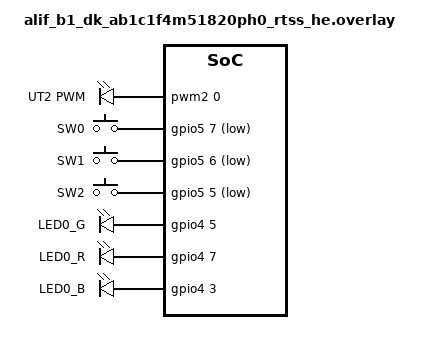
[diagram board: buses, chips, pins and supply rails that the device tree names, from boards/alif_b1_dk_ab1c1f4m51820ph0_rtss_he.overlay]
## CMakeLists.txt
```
# Copyright (C) 2024 Alif Semiconductor - All Rights Reserved.
# Use, distribution and modification of this code is permitted under the
# terms stated in the Alif Semiconductor Software License Agreement
#
# You should have received a copy of the Alif Semiconductor Software
# License Agreement with this file. If not, please write to:
# contact@alifsemi.com, or visit: https://alifsemi.com/license

cmake_minimum_required(VERSION 3.13.1)

if(CONFIG_CHIP_FACTORY_DATA)
set(EXTRA_DTC_OVERLAY_FILE "b1_factorydata_partition.overlay")
set(OVERLAY_CONFIG "factory_data.conf")
endif()

find_package(Zephyr REQUIRED HINTS $ENV{ZEPHYR_BASE})
project(matter-lighting-switch)

set(CHIP_ROOT ${ZEPHYR_CONNECTEDHOMEIP_MODULE_DIR})
set(ALIF_COMMON ${ZEPHYR_SDK_ALIF_MODULE_DIR}/subsys/matter)
set(MATTER_GEN_DIR ${CHIP_ROOT}/zzz_generated/)

include(${ZEPHYR_CONNECTEDHOMEIP_MODULE_DIR}/config/alif/app/enable-gnu-std.cmake)
include(${ZEPHYR_CONNECTEDHOMEIP_MODULE_DIR}/src/app/chip_data_model.cmake)

# -Wmaybe-uninitialized has too many false positives, including on std::optional
# and chip::Optional.  Make it nonfatal.
#
# See https://gcc.gnu.org/bugzilla/show_bug.cgi?id=80635
target_compile_options(app PRIVATE -Werror -Wno-error=maybe-uninitialized)

target_include_directories(app PRIVATE
                           src/include
                           ${MATTER_GEN_DIR}
                           ${MATTER_GEN_DIR}/app-common
                           ${MATTER_GEN_DIR}/light-switch-app
                           ${ALIF_COMMON}/common
                           ${ALIF_COMMON}/binding)

target_sources(app PRIVATE
               src/main.cpp
               src/AppTask.cpp
               src/LightSwitch.cpp
               src/ShellCommands.cpp
               ${ALIF_COMMON}/binding/BindingHandler.cpp
               ${ALIF_COMMON}/common/MatterStack.cpp
               ${ALIF_COMMON}/common/MatterUi.cpp
               ${ALIF_COMMON}/common/FabricTableDelegate.cpp)
              

chip_configure_data_model(app
    INCLUDE_SERVER
    ZAP_FILE ${CMAKE_CURRENT_SOURCE_DIR}/src/light-switch-app.zap
)
```

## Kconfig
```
# Copyright(C) 2024 Alif Semiconductor - All Rights Reserved.
# Use, distribution and modification of this code is permitted under the
# terms stated in the Alif Semiconductor Software License Agreement
#
# You should have received a copy of the Alif Semiconductor Software
# License Agreement with this file.If not, please write to:
# contact @alifsemi.com, or visit : https: // alifsemi.com/license

mainmenu "Matter Alif SDK Connect Light switch Example Application with shell test commands"

# Sample configuration used for Thread networking
if NET_L2_OPENTHREAD

choice OPENTHREAD_DEVICE_TYPE
	default OPENTHREAD_MTD
endchoice

endif # NET_L2_OPENTHREAD

rsource "${ZEPHYR_CONNECTEDHOMEIP_MODULE_DIR}/config/alif/chip-module/Kconfig.features"
rsource "${ZEPHYR_CONNECTEDHOMEIP_MODULE_DIR}/config/alif/chip-module/Kconfig.defaults"
source "Kconfig.zephyr"
```

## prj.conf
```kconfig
#  Copyright (C) 2024 Alif Semiconductor - All Rights Reserved.
#  Use, distribution and modification of this code is permitted under the
#  terms stated in the Alif Semiconductor Software License Agreement
#
#  You should have received a copy of the Alif Semiconductor Software
#  License Agreement with this file. If not, please write to:
#  contact@alifsemi.com, or visit: https://alifsemi.com/license

# Enable XIP
CONFIG_XIP=y

# Enable CHIP
CONFIG_CHIP=y
CONFIG_CHIP_PROJECT_CONFIG="src/include/CHIPProjectConfig.h"
# 32772 == 0x8004 (example light-switch-app)
CONFIG_CHIP_DEVICE_PRODUCT_ID=32772
CONFIG_STD_CPP17=y

CONFIG_OPENTHREAD_THREAD_STACK_SIZE=8000
CONFIG_LOG_MODE_DEFERRED=y
CONFIG_LOG=y
CONFIG_SHELL=y
CONFIG_LOG_BUFFER_SIZE=8200

# General networking settings
CONFIG_NET_IF_MCAST_IPV6_ADDR_COUNT=14

# Enable CHIP pairing automatically on application start.
CONFIG_CHIP_ENABLE_PAIRING_AUTOSTART=y
# Matter stack will will enable 15.4 interface 
CONFIG_OPENTHREAD_MANUAL_START=y
# Enable Subscription storage and resume
# After system reset subscribe request are activated a properly automatically
CONFIG_CHIP_PERSISTENT_SUBSCRIPTIONS=y

# OpenThread configuration
CONFIG_NET_L2_OPENTHREAD=y

#Network setup
CONFIG_NET_TCP=y
CONFIG_NET_IPV6_NBR_CACHE=n
CONFIG_NET_IPV6_MLD=n
CONFIG_NET_CONFIG_NEED_IPV4=n

## Openthread parameters
CONFIG_SHELL=y
CONFIG_OPENTHREAD_SHELL=y
CONFIG_SHELL_STACK_SIZE=3072
CONFIG_OPENTHREAD_THREAD_VERSION_1_3=y
CONFIG_OPENTHREAD_PING_SENDER=y


# Bluetooth Low Energy configuration
CONFIG_BT_DEVICE_NAME="MatterSwitch"
CONFIG_BT_DEVICE_NAME_DYNAMIC=n

# BT configuration

CONFIG_BT=y
CONFIG_BT_CENTRAL=y
CONFIG_BT_PERIPHERAL=y
CONFIG_BT_PRIVACY=n
CONFIG_BT_SMP=y
CONFIG_BT_SIGNING=y
CONFIG_BT_ATT_PREPARE_COUNT=2
CONFIG_BT_GATT_CLIENT=y
CONFIG_BT_L2CAP_DYNAMIC_CHANNEL=y
CONFIG_BT_SHELL=y
CONFIG_BT_L2CAP_TX_BUF_COUNT=4
CONFIG_BT_ID_MAX=2
CONFIG_BT_EATT=y
CONFIG_BT_L2CAP_ECRED=y
CONFIG_BT_GATT_DYNAMIC_DB=y
CONFIG_BT_FILTER_ACCEPT_LIST=y
CONFIG_BT_REMOTE_INFO=y
CONFIG_BT_REMOTE_VERSION=y
CONFIG_BT_GATT_AUTO_DISCOVER_CCC=y

CONFIG_BT_EXT_ADV=y
CONFIG_BT_EXT_ADV_LEGACY_SUPPORT=y
CONFIG_BT_PER_ADV=y
CONFIG_BT_PER_ADV_SYNC=y

CONFIG_BT_USER_DATA_LEN_UPDATE=y
CONFIG_BT_AUTO_DATA_LEN_UPDATE=y

CONFIG_BT_USER_PHY_UPDATE=y
CONFIG_BT_AUTO_PHY_UPDATE=y

# Enable the Read Client for binding
CONFIG_CHIP_ENABLE_READ_CLIENT=y

# Other settings
CONFIG_THREAD_NAME=y
CONFIG_CHIP_LIB_SHELL=y

# Flash and Settings storage configutaion
CONFIG_FLASH=y
CONFIG_FLASH_PAGE_LAYOUT=y
CONFIG_FLASH_MAP=y
CONFIG_NVS=y
CONFIG_SETTINGS=y

# Reduce application size
CONFIG_USE_SEGGER_RTT=n

# Disable GET Opt for fix duplicate implementation
CONFIG_GETOPT=n
CONFIG_IEEE802154_ALIF_AHI_MSG_LIB=y

CONFIG_LOG_RUNTIME_FILTERING=n
```

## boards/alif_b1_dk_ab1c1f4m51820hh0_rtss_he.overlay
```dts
/* Copyright (C) 2024 Alif Semiconductor - All Rights Reserved.
 * Use, distribution and modification of this code is permitted under the
 * terms stated in the Alif Semiconductor Software License Agreement
 *
 * You should have received a copy of the Alif Semiconductor Software
 * License Agreement with this file. If not, please write to:
 * contact@alifsemi.com, or visit: https://alifsemi.com/license
 */
#include <dt-bindings/pinctrl/balletto-pinctrl.h>
#include <dt-bindings/gpio/gpio.h>
#include <zephyr/dt-bindings/input/input-event-codes.h>

/* for "buttons" node gpio5_7 & 5_6, enable software pull-up */


&{/} {
	chosen {
		zephyr,console = &uart2;
		zephyr,shell-uart = &uart2;
		zephyr,bt-uart = &uart_hci;
	};

	aliases {
		led0 = &aled1;
		led2 = &aled2;
		sw0 = &button0;
		sw1 = &button1;
		sw2 = &button2;
	};

	buttons {
		compatible = "gpio-keys";
		button0: button_0 {
			gpios = < &gpio5 7 GPIO_ACTIVE_LOW >;
			label = "SW0";
			zephyr,code = <INPUT_KEY_0>;
		};
		button1: button_1 {
			gpios = < &gpio5 6 GPIO_ACTIVE_LOW >;
			label = "SW1";
			zephyr,code = <INPUT_KEY_1>;
		};

		button2: button_2 {
			gpios = < &gpio5 5 GPIO_ACTIVE_LOW >;
			label = "SW2";
			zephyr,code = <INPUT_KEY_1>;
		};
	};

	leds {
		compatible = "gpio-leds";
		aled0: led_0 {
			gpios = <&gpio4 5 0>;
			label = "LED0_G";
		};

		aled1: led_1 {
			gpios = <&gpio4 7 0>;
			label = "LED0_R";
		};

		aled2: led_2 {
			gpios = <&gpio4 3 0>;
			label = "LED0_B";
		};
	};
};

&pinctrl_gpio5 {
	group0 {
		pinmux = < PIN_P5_0__GPIO >,
			 < PIN_P5_1__GPIO >,
			 < PIN_P5_2__GPIO >,
			 < PIN_P5_3__GPIO >,
			 < PIN_P5_4__GPIO >,
			 < PIN_P5_5__GPIO >,
			 < PIN_P5_6__GPIO >,
			 < PIN_P5_7__GPIO >;
		read-enable = < 0x1 >;
	};

	group1 {
		pinmux = < PIN_P5_5__GPIO >,
			 < PIN_P5_6__GPIO >,
			 < PIN_P5_7__GPIO >;
		driver-state-control = <1>;
	};
};
```

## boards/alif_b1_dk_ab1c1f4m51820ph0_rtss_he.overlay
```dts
/* Copyright (C) 2024 Alif Semiconductor - All Rights Reserved.
 * Use, distribution and modification of this code is permitted under the
 * terms stated in the Alif Semiconductor Software License Agreement
 *
 * You should have received a copy of the Alif Semiconductor Software
 * License Agreement with this file. If not, please write to:
 * contact@alifsemi.com, or visit: https://alifsemi.com/license
 */
#include <dt-bindings/pinctrl/balletto-pinctrl.h>
#include <dt-bindings/gpio/gpio.h>
#include <zephyr/dt-bindings/input/input-event-codes.h>

/* for "buttons" node gpio5_7 & 5_6, enable software pull-up */


&{/} {
	chosen {
		zephyr,console = &uart2;
		zephyr,shell-uart = &uart2;
		zephyr,bt-uart = &uart_hci;
	};

	aliases {
		led0 = &aled1;
		led2 = &aled2;
		pwm-led0 = &pwm_ut2;
		sw0 = &button0;
		sw1 = &button1;
		sw2 = &button2;
	};
	pwmleds {
		compatible = "pwm-leds";
		pwm_ut2: pwm_ut2 {
			pwms = <&pwm2 0 PWM_MSEC(20) PWM_POLARITY_NORMAL>;
			label = "UT2 PWM";
		};
	};
	buttons {
		compatible = "gpio-keys";
		button0: button_0 {
			gpios = < &gpio5 7 GPIO_ACTIVE_LOW >;
			label = "SW0";
			zephyr,code = <INPUT_KEY_0>;
		};
		button1: button_1 {
			gpios = < &gpio5 6 GPIO_ACTIVE_LOW >;
			label = "SW1";
			zephyr,code = <INPUT_KEY_1>;
		};

		button2: button_2 {
			gpios = < &gpio5 5 GPIO_ACTIVE_LOW >;
			label = "SW2";
			zephyr,code = <INPUT_KEY_1>;
		};
	};

	leds {
		compatible = "gpio-leds";
		aled0: led_0 {
			gpios = <&gpio4 5 0>;
			label = "LED0_G";
		};

		aled1: led_1 {
			gpios = <&gpio4 7 0>;
			label = "LED0_R";
		};

		aled2: led_2 {
			gpios = <&gpio4 3 0>;
			label = "LED0_B";
		};
	};
};

&pinctrl_gpio5 {
	group0 {
		pinmux = < PIN_P5_0__GPIO >,
			 < PIN_P5_1__GPIO >,
			 < PIN_P5_2__GPIO >,
			 < PIN_P5_3__GPIO >,
			 < PIN_P5_4__GPIO >,
			 < PIN_P5_5__GPIO >,
			 < PIN_P5_6__GPIO >,
			 < PIN_P5_7__GPIO >;
		read-enable = < 0x1 >;
	};

	group1 {
		pinmux = < PIN_P5_5__GPIO >,
			 < PIN_P5_6__GPIO >,
			 < PIN_P5_7__GPIO >;
		driver-state-control = <1>;
	};
};
```

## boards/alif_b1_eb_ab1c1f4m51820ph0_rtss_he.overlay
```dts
#include <zephyr/dt-bindings/dma/alif_dma_event_router.h>

&{/} {
	chosen {
		zephyr,console = &uart2;
		zephyr,shell-uart = &uart2;
		zephyr,bt-hci = &alif_hci_uart;
		zephyr,hci-uart = &uart_hci;
		zephyr,uart-mcumgr = &uart2;
		zephyr,entropy = &rng;
	};

	aliases {
		led0 = &aled1;
		led1 = &aled0;
		led2 = &aled2;
		sw0 = &button0;
		sw1 = &button1;
		watchdog0 = &wdog0;
	};

	leds {
		compatible = "gpio-leds";

		aled0: led_0 {
			gpios = <&gpio4 5 0>;
			label = "LED0_G";
		};

		aled1: led_1 {
			gpios = <&gpio4 7 0>;
			label = "LED0_R";
		};

		aled2: led_2 {
			gpios = <&gpio4 3 0>;
			label = "LED0_B";
		};
	};

	buttons {
		compatible = "gpio-keys";

		button0: button_0 {
			gpios = < &gpio8 6 0 >;
			label = "SW0";
		};

		button1: button_1 {
			gpios = < &gpio8 7 0 >;
			label = "SW1";
		};
	};
};

&ieee802154 {
	status = "okay";
};

&uart2 {
	status = "okay";
};

&evtrtr2 {
	status = "okay";
};

&uart_hci {
	clock-frequency = <160000000>;
	/*
	 * Cell 0: ALIF_DMA_ENCODE(channel, dma_group, handshake)
	 *   - channel: Physical DMA channel (0 for RX, 1 for TX)
	 *   - dma_group: Input source selection (0) - selects which peripheral input
	 *   - handshake: Enable hardware handshaking (1 for UART)
	 * Cell 1: Peripheral request number (26 for RX, 27 for TX)
	 */
	dmas = <&evtrtr2 ALIF_DMA_ENCODE(HCI_UART_DMA_RX_CH, 0, 1) HCI_UART_DMA_RX_REQ>,
	       <&evtrtr2 ALIF_DMA_ENCODE(HCI_UART_DMA_TX_CH, 0, 1) HCI_UART_DMA_TX_REQ>;
	dma-names = "rx", "tx";
	status = "okay";
};

&uart_ahi {
	clock-frequency = <160000000>;
	pinctrl-0 = <&pinctrl_ahi_trace>;
	pinctrl-names = "default";
	/*
	 * Cell 0: ALIF_DMA_ENCODE(channel, dma_group, handshake)
	 *   - channel: Physical DMA channel (2 for RX, 3 for TX)
	 *   - dma_group: Input source selection (0) - selects which peripheral input
	 *   - handshake: Enable hardware handshaking (1 for UART)
	 * Cell 1: Peripheral request number (2 for RX, 3 for TX)
	 */
	dmas = <&evtrtr2 ALIF_DMA_ENCODE(AHI_UART_DMA_RX_CH, 0, 1) AHI_UART_DMA_RX_REQ>,
	       <&evtrtr2 ALIF_DMA_ENCODE(AHI_UART_DMA_TX_CH, 0, 1) AHI_UART_DMA_TX_REQ>;
	dma-names = "rx", "tx";
	status = "okay";
};

&dma2 {
	status = "okay";
};

&gpio4 {
	status = "okay";
};

&gpio8 {
	status = "okay";
};

&mram_storage {
	partitions {
		compatible = "fixed-partitions";
		#address-cells = <1>;
		#size-cells = <1>;

		boot_partition: partition@0 {
			label = "mcuboot";
			reg = <0x00000000 DT_SIZE_K(64)>;
			read-only;
		};

		slot0_partition: partition@10000 {
			label = "image-0";
			reg = <0x00010000 DT_SIZE_K(843)>;
		};

		slot1_partition: partition@E2C00 {
			label = "image-1";
			reg = <0x000E2C00 DT_SIZE_K(843)>;
		};

		scratch_partition: partition@1B5800 {
			label = "image-scratch";
			reg = <0x001B5800 DT_SIZE_K(64)>;
		};

		storage_partition: partition@1C5800 {
			label = "storage";
			reg = <0x001C5800 DT_SIZE_K(10)>;
		};
	};
};


&pinctrl_gpio8 {
	group0 {
		pinmux = < PIN_P8_0__GPIO >,
			 < PIN_P8_1__GPIO >,
			 < PIN_P8_2__GPIO >,
			 < PIN_P8_3__GPIO >,
			 < PIN_P8_4__GPIO >,
			 < PIN_P8_5__GPIO >,
			 < PIN_P8_6__GPIO >,
			 < PIN_P8_7__GPIO >;
		read-enable = < 0x1 >;
	};

	group1 {
		pinmux = < PIN_P8_6__GPIO >,
			 < PIN_P8_7__GPIO >;
		driver-state-control = <1>;
	};
};
```

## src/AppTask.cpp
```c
/* Copyright (C) 2024 Alif Semiconductor - All Rights Reserved.
 * Use, distribution and modification of this code is permitted under the
 * terms stated in the Alif Semiconductor Software License Agreement
 *
 * You should have received a copy of the Alif Semiconductor Software
 * License Agreement with this file. If not, please write to:
 * contact@alifsemi.com, or visit: https://alifsemi.com/license
 */

#include "AppTask.h"
#include "AppConfig.h"
#include "LightSwitch.h"
#include "MatterStack.h"
#include "MatterUi.h"

#include "icdHandler.h"
#include <app/InteractionModelEngine.h>

#include <DeviceInfoProviderImpl.h>
#include <app/TestEventTriggerDelegate.h>
#include <app/clusters/identify-server/identify-server.h>
#include <setup_payload/OnboardingCodesUtil.h>
#include <app/server/Server.h>
#include <credentials/DeviceAttestationCredsProvider.h>
#include <credentials/examples/DeviceAttestationCredsExample.h>
#include <lib/support/CHIPMem.h>
#include <lib/support/CodeUtils.h>
#include <lib/support/SafeInt.h>
#include <platform/CHIPDeviceLayer.h>
#include <system/SystemError.h>

#include <zephyr/kernel.h>
#include <zephyr/logging/log.h>

LOG_MODULE_DECLARE(app, CONFIG_CHIP_APP_LOG_LEVEL);

using namespace ::chip;
using namespace ::chip::app;
using namespace ::chip::Credentials;
using namespace ::chip::DeviceLayer;

namespace
{
constexpr EndpointId kLightDimmerSwitchEndpointId = 1;
constexpr EndpointId kLightGenericSwitchEndpointId = 2;
constexpr EndpointId kLightEndpointId = 1;

constexpr int kAppEventQueueSize = 10;

K_MSGQ_DEFINE(sAppEventQueue, sizeof(AppEvent), kAppEventQueueSize, alignof(AppEvent));

Identify sIdentify = {kLightEndpointId, AppTask::IdentifyStartHandler, AppTask::IdentifyStopHandler,
		      Clusters::Identify::IdentifyTypeEnum::kVisibleIndicator};
// Identify sIdentifyGen = {kLightGenericSwitchEndpointId, AppTask::IdentifyStartHandler, AppTask::IdentifyStopHandler,
// 			Clusters::Identify::IdentifyTypeEnum::kVisibleIndicator};

chip::DeviceLayer::DeviceInfoProviderImpl gExampleDeviceInfoProvider;

CHIP_ERROR DevInit()
{
	LightSwitch::GetInstance().Init(kLightDimmerSwitchEndpointId, kLightGenericSwitchEndpointId);
	gExampleDeviceInfoProvider.SetStorageDelegate(
		&Server::GetInstance().GetPersistentStorage());
	chip::DeviceLayer::SetDeviceInfoProvider(&gExampleDeviceInfoProvider);
	MatterUi::Instance().Init(AppTask::ButtonUpdateHandler);
	return CHIP_NO_ERROR;
}
} // namespace

void AppTask::ButtonUpdateHandler(uint32_t button_state, uint32_t has_changed)
{
	if (has_changed & 1) {
		/* Press Button Update  toggle led when state goes to 0*/
		if (!(button_state & 1)) {
			/* Toggle Light onOff server state */
			LightSwitch::GetInstance().LightOnOffServerControl(LightSwitch::Action::Toggle);
			LightSwitch::GetInstance().LightControl(LightSwitch::Action::Toggle);
		}

	} else if (has_changed & 2) {
		/* Generic functional button */
		if (button_state & 2) {
			LOG_INF("SW1 press");
			LightSwitch::GetInstance().GenericSwitchInitialPress();
		} else {
			LOG_INF("SW1 released");
			LightSwitch::GetInstance().GenericSwitchReleasePress();
		}
	}  else if (has_changed & 4) {
		/* Factory Reset user Button */
		if (button_state & 4) {
			LOG_INF("Factoryreset button pressed");
		} else {
			LOG_INF("Factoryreset button released");
		}
		MatterUi::Instance().AppFactoryResetEventTrig();
	}
}

void AppTask::PostEvent(AppEvent * aEvent)
{
    if (!aEvent) {
        return;
    }
        
    if (k_msgq_put(&sAppEventQueue, aEvent, K_NO_WAIT) != 0) {
        LOG_INF("PostEvent fail");
    }
}

void AppTask::DispatchEvent(const AppEvent * aEvent)
{
    if (!aEvent) {
        return;
    }
    if (aEvent->Handler) {
        aEvent->Handler(aEvent);
    } else {
        LOG_INF("Dropping event without handler");
    }
}

void AppTask::GetEvent(AppEvent * aEvent)
{
    k_msgq_get(&sAppEventQueue, aEvent, K_FOREVER);
}

void AppTask::IdentifyStartHandler(Identify *)
{
	AppEvent event;

	event.Type = AppEventType::IdentifyStart;
	event.Handler = [](const AppEvent *) {
		LOG_INF("Identify start");
		MatterStack::Instance().IdentifyLedState(true);
	};
	PostEvent(&event);
}

void AppTask::IdentifyStopHandler(Identify *)
{
	AppEvent event;

	event.Type = AppEventType::IdentifyStop;
	event.Handler = [](const AppEvent *) {
		LOG_INF("Identify stop");
		MatterStack::Instance().IdentifyLedState(false);
	};
	PostEvent(&event);
}

void AppTask::StartBLEAdvertisementHandler(const AppEvent *)
{
	if (Server::GetInstance().GetFabricTable().FabricCount() != 0) {
		LOG_INF("Matter service BLE advertising not started - device is already "
			"commissioned");
		return;
	}

	if (ConnectivityMgr().IsBLEAdvertisingEnabled()) {
		LOG_INF("BLE advertising is already enabled");
		return;
	}

	if (Server::GetInstance().GetCommissioningWindowManager().OpenBasicCommissioningWindow() !=
	    CHIP_NO_ERROR) {
		LOG_ERR("OpenBasicCommissioningWindow() failed");
	}
}

CHIP_ERROR AppTask::Init()
{
	/* Initialize Matter stack */
	ReturnErrorOnFailure(MatterStack::Instance().matter_stack_init(DevInit));

	chip::app::InteractionModelEngine::GetInstance()->RegisterReadHandlerAppCallback(
		&ICDHandler::Instance());

	/* Start Matter sheduler */
	ReturnErrorOnFailure(MatterStack::Instance().matter_stack_start());

	return CHIP_NO_ERROR;
}

CHIP_ERROR AppTask::StartApp()
{
	ReturnErrorOnFailure(Init());

	AppEvent event = {};

	while (true) {
		GetEvent(&event);
		DispatchEvent(&event);
	}

	return CHIP_NO_ERROR;
}
```

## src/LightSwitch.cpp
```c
/* Copyright (C) 2024 Alif Semiconductor - All Rights Reserved.
 * Use, distribution and modification of this code is permitted under the
 * terms stated in the Alif Semiconductor Software License Agreement
 *
 * You should have received a copy of the Alif Semiconductor Software
 * License Agreement with this file. If not, please write to:
 * contact@alifsemi.com, or visit: https://alifsemi.com/license
 */

#include "LightSwitch.h"
#include "AppEvent.h"
#include "BindingHandler.h"
#include "ShellCommands.h"

#include <app/server/Server.h>
#include <app/util/binding-table.h>
#include <controller/InvokeInteraction.h>
#include <app/clusters/switch-server/switch-server.h>

#include <app-common/zap-generated/attributes/Accessors.h>
#include <zephyr/logging/log.h>
LOG_MODULE_DECLARE(app, CONFIG_CHIP_APP_LOG_LEVEL);

using namespace chip;
using namespace chip::app;
using namespace chip::app::Clusters;

void LightSwitch::Init(chip::EndpointId aLightDimmerSwitchEndpoint)
{
	BindingHandler::GetInstance().Init();

	/* Enable shell commands */
	SwitchCommands::RegisterSwitchCommands();
	mLightSwitchEndpoint = aLightDimmerSwitchEndpoint;
}

void LightSwitch::LightControl(Action mAction)
{
	BindingHandler::BindingData *data = Platform::New<BindingHandler::BindingData>();
	if (data) {
		data->EndpointId = mLightSwitchEndpoint;
		data->ClusterId = Clusters::OnOff::Id;
		data->BindCommandFunc = LightSwitchChangedHandler;
		switch (mAction) {
		case Action::Toggle:
			data->CommandId = Clusters::OnOff::Commands::Toggle::Id;
			break;
		case Action::On:
			data->CommandId = Clusters::OnOff::Commands::On::Id;
			break;
		case Action::Off:
			data->CommandId = Clusters::OnOff::Commands::Off::Id;
			break;
		default:
			Platform::Delete(data);
			return;
		}
		data->IsGroup = BindingHandler::GetInstance().IsGroupBound();
		BindingHandler::SheduleClusterAction(data);
	}
}

void LightSwitch::LightDimmControl(uint16_t dimmLevel)
{

	BindingHandler::BindingData *data = Platform::New<BindingHandler::BindingData>();
	if (data) {
		data->EndpointId = mLightSwitchEndpoint;
		data->CommandId = Clusters::LevelControl::Commands::MoveToLevel::Id;
		data->ClusterId = Clusters::LevelControl::Id;
		data->BindCommandFunc = LightSwitchChangedHandler;

		if (dimmLevel > kMaximumBrightness) {
			dimmLevel = kMaximumBrightness;
		}
		data->Value = static_cast<uint8_t>(dimmLevel);
		data->IsGroup = BindingHandler::GetInstance().IsGroupBound();
		BindingHandler::SheduleClusterAction(data);
	}
}

void LightSwitch::OnOffProcessCommand(CommandId aCommandId, const EmberBindingTableEntry &aBinding,
				      OperationalDeviceProxy *aDevice,
				      BindingHandler::BindingData &bindingData)
{
	CHIP_ERROR ret = CHIP_NO_ERROR;

	auto onSuccess = [dataPointer = Platform::New<BindingHandler::BindingData>(bindingData)](
				 const ConcreteCommandPath &commandPath, const StatusIB &status,
				 const auto &dataResponse) {
		BindingHandler::BindCommandSucces(dataPointer);
	};

	auto onFailure = [dataPointer = Platform::New<BindingHandler::BindingData>(bindingData)](
				 CHIP_ERROR aError) {
		BindingHandler::BindCommandFailure(dataPointer, aError);
	};

	/* Check that connection is ready for active device */
	if (aDevice) {
		VerifyOrDie(aDevice->ConnectionReady());
	}

	switch (aCommandId) {
	case Clusters::OnOff::Commands::Toggle::Id:
		Clusters::OnOff::Commands::Toggle::Type toggleCommand;
		if (aDevice) {
			ret = Controller::InvokeCommandRequest(
				aDevice->GetExchangeManager(), aDevice->GetSecureSession().Value(),
				aBinding.remote, toggleCommand, onSuccess, onFailure);
		} else {

			Messaging::ExchangeManager &exchangeMgr =
				Server::GetInstance().GetExchangeManager();
			ret = Controller::InvokeGroupCommandRequest(
				&exchangeMgr, aBinding.fabricIndex, aBinding.groupId,
				toggleCommand);
		}
		break;

	case Clusters::OnOff::Commands::On::Id:
		Clusters::OnOff::Commands::On::Type onCommand;
		if (aDevice) {
			ret = Controller::InvokeCommandRequest(
				aDevice->GetExchangeManager(), aDevice->GetSecureSession().Value(),
				aBinding.remote, onCommand, onSuccess, onFailure);
		} else {
			Messaging::ExchangeManager &exchangeMgr =
				Server::GetInstance().GetExchangeManager();
			ret = Controller::InvokeGroupCommandRequest(
				&exchangeMgr, aBinding.fabricIndex, aBinding.groupId, onCommand);
		}
		break;

	case Clusters::OnOff::Commands::Off::Id:
		Clusters::OnOff::Commands::Off::Type offCommand;
		if (aDevice) {
			ret = Controller::InvokeCommandRequest(
				aDevice->GetExchangeManager(), aDevice->GetSecureSession().Value(),
				aBinding.remote, offCommand, onSuccess, onFailure);
		} else {
			Messaging::ExchangeManager &exchangeMgr =
				Server::GetInstance().GetExchangeManager();
			ret = Controller::InvokeGroupCommandRequest(
				&exchangeMgr, aBinding.fabricIndex, aBinding.groupId, offCommand);
		}

		break;
	default:
		LOG_DBG("Invalid binding command data - commandId is not supported");
		break;
	}
	if (CHIP_NO_ERROR != ret) {
		LOG_ERR("Invoke OnOff Command Request ERROR: %s", ErrorStr(ret));
	}
}

void LightSwitch::LevelControlProcessCommand(CommandId aCommandId,
					     const EmberBindingTableEntry &aBinding,
					     OperationalDeviceProxy *aDevice,
					     BindingHandler::BindingData &bindingData)
{
	auto onSuccess = [dataPointer = Platform::New<BindingHandler::BindingData>(bindingData)](
				 const ConcreteCommandPath &commandPath, const StatusIB &status,
				 const auto &dataResponse) {
		BindingHandler::BindCommandSucces(dataPointer);
	};

	auto onFailure = [dataPointer = Platform::New<BindingHandler::BindingData>(bindingData)](
				 CHIP_ERROR aError) {
		BindingHandler::BindCommandFailure(dataPointer, aError);
	};

	CHIP_ERROR ret = CHIP_NO_ERROR;

	/* Check that connection is ready for active device */
	if (aDevice) {
		VerifyOrDie(aDevice->ConnectionReady());
	}

	switch (aCommandId) {
	case Clusters::LevelControl::Commands::MoveToLevel::Id: {
		Clusters::LevelControl::Commands::MoveToLevel::Type moveToLevelCommand;
		moveToLevelCommand.level = bindingData.Value;
		if (aDevice) {
			ret = Controller::InvokeCommandRequest(
				aDevice->GetExchangeManager(), aDevice->GetSecureSession().Value(),
				aBinding.remote, moveToLevelCommand, onSuccess, onFailure);
		} else {
			Messaging::ExchangeManager &exchangeMgr =
				Server::GetInstance().GetExchangeManager();
			ret = Controller::InvokeGroupCommandRequest(
				&exchangeMgr, aBinding.fabricIndex, aBinding.groupId,
				moveToLevelCommand);
		}
	} break;
	default:
		LOG_DBG("Invalid binding command data - commandId is not supported");
		break;
	}
	if (CHIP_NO_ERROR != ret) {
		LOG_ERR("Invoke Group Command Request ERROR: %s", ErrorStr(ret));
	}
}

void LightSwitch::LightSwitchChangedHandler(const EmberBindingTableEntry &binding,
					    OperationalDeviceProxy *deviceProxy,
					    BindingHandler::BindingData &bindingData)
{
	OperationalDeviceProxy *temp_proxy;
	chip::ClusterId ClusterId = bindingData.ClusterId;

	if (binding.type == MATTER_MULTICAST_BINDING && bindingData.IsGroup) {
		/* Multicast should not use device proxy */
		temp_proxy = nullptr;
	} else if (binding.type == MATTER_UNICAST_BINDING && !bindingData.IsGroup) {
		temp_proxy = deviceProxy;
	} else {
		ClusterId = 0;
	}

	switch (ClusterId) {
	case Clusters::OnOff::Id:
		OnOffProcessCommand(bindingData.CommandId, binding, temp_proxy, bindingData);
		break;
	case Clusters::LevelControl::Id:
		LevelControlProcessCommand(bindingData.CommandId, binding, temp_proxy, bindingData);
		break;
	default:
		LOG_ERR("Invalid binding type %d command data", binding.type);
		break;
	}
}
```

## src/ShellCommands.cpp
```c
/* Copyright (C) 2024 Alif Semiconductor - All Rights Reserved.
 * Use, distribution and modification of this code is permitted under the
 * terms stated in the Alif Semiconductor Software License Agreement
 *
 * You should have received a copy of the Alif Semiconductor Software
 * License Agreement with this file. If not, please write to:
 * contact@alifsemi.com, or visit: https://alifsemi.com/license
 */

#include "ShellCommands.h"
#include "LightSwitch.h"
#include <platform/CHIPDeviceLayer.h>

#include "BindingHandler.h"

using namespace chip;
using namespace chip::app;

namespace SwitchCommands
{
using Shell::Engine;
using Shell::shell_command_t;
using Shell::streamer_get;
using Shell::streamer_printf;

static CHIP_ERROR LightComandHandler(int argc, char **argv)
{
	if (argc != 1) {
		streamer_printf(SwitchCommands::streamer_get(), "Usage: light [on|off|toggle]");
	}

	if (strcmp(argv[0], "on") == 0) {
		LightSwitch::GetInstance().LightControl(LightSwitch::Action::On);
	} else if (strcmp(argv[0], "off") == 0) {
		LightSwitch::GetInstance().LightControl(LightSwitch::Action::Off);
	} else if (strcmp(argv[0], "toggle") == 0) {
		LightSwitch::GetInstance().LightControl(LightSwitch::Action::Toggle);
	} else {
		streamer_printf(SwitchCommands::streamer_get(), "Usage: light [on|off|toggle]");
	}

	return CHIP_NO_ERROR;
}

static CHIP_ERROR BindTablePrint(int argc, char **argv)
{
	BindingHandler::GetInstance().PrintTable();
	return CHIP_NO_ERROR;
}

void RegisterSwitchCommands(void)
{
	static const shell_command_t sLightCommand = {
		LightComandHandler, "light", "Light test commands. Usage: light [on|off|toggle]"};
	static const shell_command_t sTableCommand = {BindTablePrint, "table",
						      "Print light binding table. Usage: table"};

	Engine::Root().RegisterCommands(&sLightCommand, 1);
	Engine::Root().RegisterCommands(&sTableCommand, 1);
	return;
}

} // namespace SwitchCommands
```

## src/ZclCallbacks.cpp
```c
/* Copyright (C) 2024 Alif Semiconductor - All Rights Reserved.
 * Use, distribution and modification of this code is permitted under the
 * terms stated in the Alif Semiconductor Software License Agreement
 *
 * You should have received a copy of the Alif Semiconductor Software
 * License Agreement with this file. If not, please write to:
 * contact@alifsemi.com, or visit: https://alifsemi.com/license
 */

#include "AppTask.h"
#include "MatterStack.h"

#include <app-common/zap-generated/attributes/Accessors.h>
#include <app-common/zap-generated/ids/Attributes.h>
#include <app-common/zap-generated/ids/Clusters.h>
#include <app/ConcreteAttributePath.h>

#include <zephyr/logging/log.h>

LOG_MODULE_DECLARE(app, CONFIG_CHIP_APP_LOG_LEVEL);

using namespace chip;
using namespace chip::app::Clusters;
using namespace chip::app::Clusters::OnOff;

void MatterPostAttributeChangeCallback(const chip::app::ConcreteAttributePath &attributePath,
				       uint8_t type, uint16_t size, uint8_t *value)
{
	ClusterId clusterId = attributePath.mClusterId;
	AttributeId attributeId = attributePath.mAttributeId;

	if (clusterId == OnOff::Id && attributeId == OnOff::Attributes::OnOff::Id) {
		MatterStack::Instance().StatusLedBlink();
		LOG_INF("Cluster OnOff: attribute OnOff set to %u", *value);
	}
}
```
